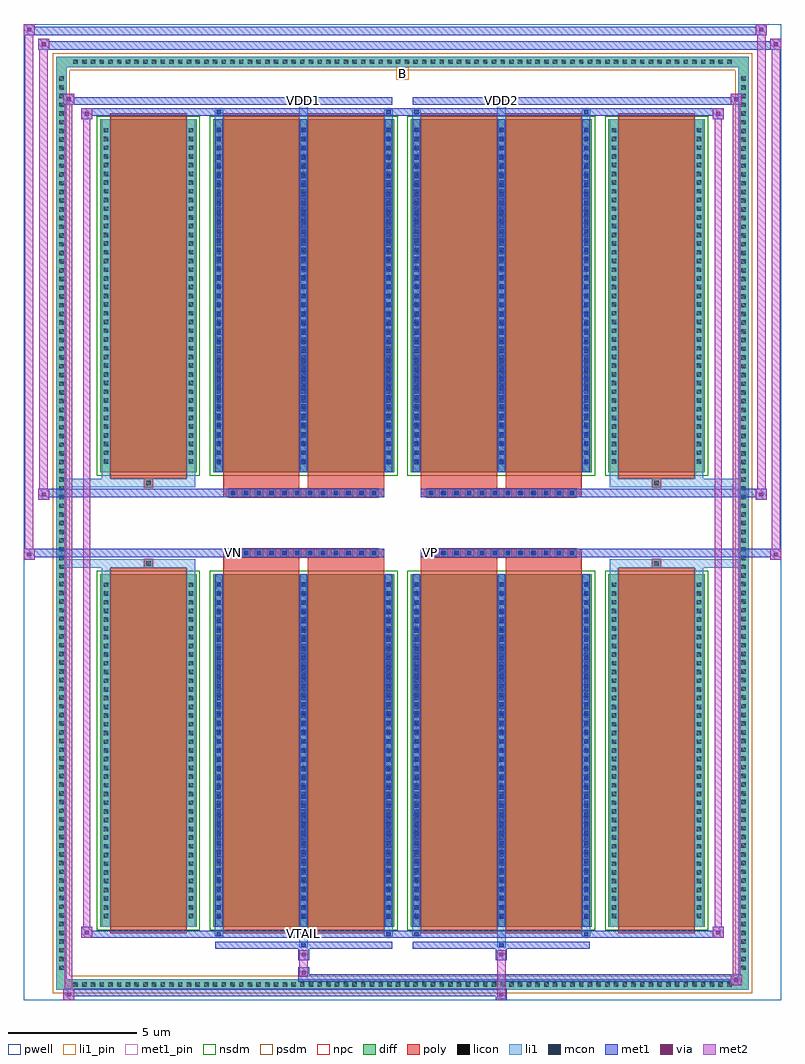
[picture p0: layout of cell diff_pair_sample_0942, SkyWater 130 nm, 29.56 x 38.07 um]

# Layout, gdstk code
import gdstk
lib = gdstk.Library(unit=1e-6, precision=5e-09)
def R(c, l, rs):  # rectangles x0, y0, x1, y1
    for r in rs: c.add(gdstk.rectangle(r[:2], r[2:], *l))
def A(c, l, x, y, w, h, nx, ny, dx, dy):  # array of equal rectangles
    R(c, l, [(x+i*dx, y+j*dy, x+i*dx+w, y+j*dy+h) for i in range(nx) for j in range(ny)])
def P(c, l, *ps):  # polygons
    for p in ps: c.add(gdstk.Polygon(p, *l))
pwell = (64, 44)
diff = (65, 20)
poly = (66, 20)
licon = (66, 44)
li1_pin = (67, 16)
li1 = (67, 20)
mcon = (67, 44)
met1_pin = (68, 16)
met1 = (68, 20)
via = (68, 44)
met2 = (69, 20)
nsdm = (93, 44)
psdm = (94, 20)
npc = (95, 20)

diff_pair_sample_0942 = lib.new_cell('diff_pair_sample_0942')
R(diff_pair_sample_0942, pwell, [(-14.78,-18.6,14.78,19.47), (-12.1,-16.79,-0.01,-0.805), (0.01,-16.79,12.1,-0.805), (-12.1,0.805,-0.01,16.79), (0.01,0.805,12.1,16.79)])
A(diff_pair_sample_0942, diff, -12.955, -18.2, 0.41, 0.41, 76, 2, 0.34, 35.99)
A(diff_pair_sample_0942, diff, -13.51, -17.545, 0.41, 0.41, 1, 103, 0, 0.34)
A(diff_pair_sample_0942, diff, 13.1, -17.545, 0.41, 0.41, 1, 103, 0, 0.34)
R(diff_pair_sample_0942, diff, [(-12.955,-18.2,12.955,-17.79), (-13.51,-17.545,-13.1,17.545), (13.1,-17.545,13.51,17.545), (-11.79,-15.745,-8.03,-1.985), (-7.39,-15.745,-0.32,-1.985), (0.32,-15.745,7.39,-1.985), (8.03,-15.745,11.79,-1.985), (-11.79,1.985,-8.03,15.745), (-7.39,1.985,-0.32,15.745), (0.32,1.985,7.39,15.745), (8.03,1.985,11.79,15.745), (-12.955,17.79,12.955,18.2)])
P(diff_pair_sample_0942, diff, [(13.51,18.2),(-13.51,18.2),(-13.51,-17.79),(-13.1,-17.79),(-13.1,17.79),(13.1,17.79),(13.1,-17.79),(-13.1,-17.79),(-13.51,-17.79),(-13.51,-18.2),(13.51,-18.2)])
A(diff_pair_sample_0942, poly, -6.77, -1.335, 0.33, 0.33, 12, 2, 0.5, 2.34)
A(diff_pair_sample_0942, poly, 0.94, -1.335, 0.33, 0.33, 12, 2, 0.5, 2.34)
R(diff_pair_sample_0942, poly, [(-11.4,-15.995,-8.42,-1.735), (-7,-15.995,-4.02,-1.735), (-3.69,-15.995,-0.71,-1.735), (0.71,-15.995,3.69,-1.735), (4.02,-15.995,7,-1.735), (8.42,-15.995,11.4,-1.735), (-10.075,-1.735,-9.745,-1.405), (-10.075,-1.735,-9.745,-1.405), (-7,-1.735,-4.02,-1.335), (-3.69,-1.735,-0.71,-1.335), (0.71,-1.735,3.69,-1.335), (4.02,-1.735,7,-1.335), (9.745,-1.735,10.075,-1.405), (9.745,-1.735,10.075,-1.405), (-7,-1.335,-0.71,-1.005), (0.71,-1.335,7,-1.005), (-7,1.005,-0.71,1.335), (0.71,1.005,7,1.335), (-7,1.335,-4.02,1.735), (-3.69,1.335,-0.71,1.735), (0.71,1.335,3.69,1.735), (4.02,1.335,7,1.735), (-10.075,1.405,-9.745,1.735), (-10.075,1.405,-9.745,1.735), (9.745,1.405,10.075,1.735), (9.745,1.405,10.075,1.735), (-11.4,1.735,-8.42,15.995), (-7,1.735,-4.02,15.995), (-3.69,1.735,-0.71,15.995), (0.71,1.735,3.69,15.995), (4.02,1.735,7,15.995), (8.42,1.735,11.4,15.995)])
A(diff_pair_sample_0942, licon, -12.835, -18.08, 0.17, 0.17, 76, 2, 0.34, 35.99)
A(diff_pair_sample_0942, licon, -13.39, -17.425, 0.17, 0.17, 1, 103, 0, 0.34)
A(diff_pair_sample_0942, licon, 13.22, -17.425, 0.17, 0.17, 1, 103, 0, 0.34)
A(diff_pair_sample_0942, licon, -11.65, -15.41, 0.17, 0.17, 1, 39, 0, 0.34)
A(diff_pair_sample_0942, licon, -8.34, -15.41, 0.17, 0.17, 1, 39, 0, 0.34)
A(diff_pair_sample_0942, licon, -7.25, -15.41, 0.17, 0.17, 3, 39, 3.31, 0.34)
A(diff_pair_sample_0942, licon, 0.46, -15.41, 0.17, 0.17, 3, 39, 3.31, 0.34)
A(diff_pair_sample_0942, licon, 8.17, -15.41, 0.17, 0.17, 1, 39, 0, 0.34)
A(diff_pair_sample_0942, licon, 11.48, -15.41, 0.17, 0.17, 1, 39, 0, 0.34)
A(diff_pair_sample_0942, licon, -6.69, -1.255, 0.17, 0.17, 12, 2, 0.5, 2.34)
A(diff_pair_sample_0942, licon, 1.02, -1.255, 0.17, 0.17, 12, 2, 0.5, 2.34)
A(diff_pair_sample_0942, licon, -11.65, 2.32, 0.17, 0.17, 1, 39, 0, 0.34)
A(diff_pair_sample_0942, licon, -8.34, 2.32, 0.17, 0.17, 1, 39, 0, 0.34)
A(diff_pair_sample_0942, licon, -7.25, 2.32, 0.17, 0.17, 3, 39, 3.31, 0.34)
A(diff_pair_sample_0942, licon, 0.46, 2.32, 0.17, 0.17, 3, 39, 3.31, 0.34)
A(diff_pair_sample_0942, licon, 8.17, 2.32, 0.17, 0.17, 1, 39, 0, 0.34)
A(diff_pair_sample_0942, licon, 11.48, 2.32, 0.17, 0.17, 1, 39, 0, 0.34)
R(diff_pair_sample_0942, licon, [(-9.995,-1.655,-9.825,-1.485), (9.825,-1.655,9.995,-1.485), (-9.995,1.485,-9.825,1.655), (9.825,1.485,9.995,1.655)])
R(diff_pair_sample_0942, li1_pin, [(-0.25,17.29,0.25,17.79)])
A(diff_pair_sample_0942, li1, -12.915, -18.16, 0.33, 0.33, 76, 2, 0.34, 35.99)
A(diff_pair_sample_0942, li1, -13.47, -17.505, 0.33, 0.33, 1, 103, 0, 0.34)
A(diff_pair_sample_0942, li1, 13.14, -17.505, 0.33, 0.33, 1, 103, 0, 0.34)
A(diff_pair_sample_0942, li1, -7.33, -15.745, 0.33, 13.76, 3, 2, 3.31, 17.73)
A(diff_pair_sample_0942, li1, 0.38, -15.745, 0.33, 13.76, 3, 2, 3.31, 17.73)
A(diff_pair_sample_0942, li1, -11.73, -15.49, 0.33, 0.33, 1, 39, 0, 0.34)
A(diff_pair_sample_0942, li1, -8.42, -15.49, 0.33, 0.33, 1, 39, 0, 0.34)
A(diff_pair_sample_0942, li1, -7.33, -15.49, 0.33, 0.33, 3, 39, 3.31, 0.34)
A(diff_pair_sample_0942, li1, 0.38, -15.49, 0.33, 0.33, 3, 39, 3.31, 0.34)
A(diff_pair_sample_0942, li1, 8.09, -15.49, 0.33, 0.33, 1, 39, 0, 0.34)
A(diff_pair_sample_0942, li1, 11.4, -15.49, 0.33, 0.33, 1, 39, 0, 0.34)
A(diff_pair_sample_0942, li1, -7.25, -15.43, 0.17, 0.17, 3, 37, 3.31, 0.36)
A(diff_pair_sample_0942, li1, -7.25, -15.43, 0.17, 13.13, 3, 2, 3.31, 17.73)
A(diff_pair_sample_0942, li1, 0.46, -15.43, 0.17, 0.17, 3, 37, 3.31, 0.36)
A(diff_pair_sample_0942, li1, 0.46, -15.43, 0.17, 13.13, 3, 2, 3.31, 17.73)
A(diff_pair_sample_0942, li1, -6.77, -1.335, 0.33, 0.33, 12, 2, 0.5, 2.34)
A(diff_pair_sample_0942, li1, 0.94, -1.335, 0.33, 0.33, 12, 2, 0.5, 2.34)
A(diff_pair_sample_0942, li1, -11.73, 2.24, 0.33, 0.33, 1, 39, 0, 0.34)
A(diff_pair_sample_0942, li1, -8.42, 2.24, 0.33, 0.33, 1, 39, 0, 0.34)
A(diff_pair_sample_0942, li1, -7.33, 2.24, 0.33, 0.33, 3, 39, 3.31, 0.34)
A(diff_pair_sample_0942, li1, 0.38, 2.24, 0.33, 0.33, 3, 39, 3.31, 0.34)
A(diff_pair_sample_0942, li1, 8.09, 2.24, 0.33, 0.33, 1, 39, 0, 0.34)
A(diff_pair_sample_0942, li1, 11.4, 2.24, 0.33, 0.33, 1, 39, 0, 0.34)
A(diff_pair_sample_0942, li1, -7.25, 2.3, 0.17, 0.17, 3, 37, 3.31, 0.36)
A(diff_pair_sample_0942, li1, 0.46, 2.3, 0.17, 0.17, 3, 37, 3.31, 0.36)
R(diff_pair_sample_0942, li1, [(-13.51,-18.2,-13.1,-17.79), (-13.51,-18.2,-13.1,-17.79), (-13.1,-18.2,13.1,-17.79), (13.1,-18.2,13.51,-17.79), (13.1,-18.2,13.51,-17.79), (-13.51,-17.79,-13.1,17.79), (13.1,-17.79,13.51,17.79), (-4.02,-16.55,-3.69,-15.745), (-3.94,-16.55,-3.77,-16.38), (3.69,-16.55,4.02,-15.745), (3.77,-16.55,3.94,-16.38), (-7.33,-16.12,-7,-15.745), (-7.25,-16.12,-7.08,-15.95), (-0.71,-16.12,-0.38,-15.745), (-0.63,-16.12,-0.46,-15.95), (0.38,-16.12,0.71,-15.745), (0.46,-16.12,0.63,-15.95), (7,-16.12,7.33,-15.745), (7.08,-16.12,7.25,-15.95), (-11.73,-15.745,-11.4,-1.985), (-8.42,-15.745,-8.09,-1.985), (8.09,-15.745,8.42,-1.985), (11.4,-15.745,11.73,-1.985), (-11.73,-1.985,-11.4,-1.405), (-8.42,-1.985,-8.09,-1.405), (8.09,-1.985,8.42,-1.405), (11.4,-1.985,11.73,-1.405), (-13.51,-1.735,-10.075,-1.405), (-11.73,-1.735,-10.075,-1.405), (-10.075,-1.735,-9.745,-1.405), (-9.745,-1.735,-8.09,-1.405), (8.09,-1.735,9.745,-1.405), (9.745,-1.735,10.075,-1.405), (9.745,-1.735,13.51,-1.405), (10.075,-1.735,11.73,-1.405), (-13.51,1.405,-10.075,1.735), (-11.73,1.405,-10.075,1.735), (-11.73,1.405,-11.4,1.985), (-10.075,1.405,-9.745,1.735), (-9.745,1.405,-8.09,1.735), (-8.42,1.405,-8.09,1.985), (8.09,1.405,9.745,1.735), (8.09,1.405,8.42,1.985), (9.745,1.405,10.075,1.735), (9.745,1.405,13.51,1.735), (10.075,1.405,11.73,1.735), (11.4,1.405,11.73,1.985), (-11.73,1.985,-11.4,15.745), (-8.42,1.985,-8.09,15.745), (8.09,1.985,8.42,15.745), (11.4,1.985,11.73,15.745), (-7.33,15.745,-7,16.12), (-4.02,15.745,-3.69,16.55), (-0.71,15.745,-0.38,16.12), (0.38,15.745,0.71,16.12), (3.69,15.745,4.02,16.55), (7,15.745,7.33,16.12), (-7.25,15.95,-7.08,16.12), (-0.63,15.95,-0.46,16.12), (0.46,15.95,0.63,16.12), (7.08,15.95,7.25,16.12), (-3.94,16.38,-3.77,16.55), (3.77,16.38,3.94,16.55), (-13.51,17.79,-13.1,18.2), (-13.51,17.79,-13.1,18.2), (-13.1,17.79,13.1,18.2), (13.1,17.79,13.51,18.2), (13.1,17.79,13.51,18.2)])
A(diff_pair_sample_0942, mcon, -7.25, -15.43, 0.17, 0.17, 3, 37, 3.31, 0.36)
A(diff_pair_sample_0942, mcon, 0.46, -15.43, 0.17, 0.17, 3, 37, 3.31, 0.36)
A(diff_pair_sample_0942, mcon, -6.69, -1.255, 0.17, 0.17, 12, 2, 0.5, 2.34)
A(diff_pair_sample_0942, mcon, 1.02, -1.255, 0.17, 0.17, 12, 2, 0.5, 2.34)
A(diff_pair_sample_0942, mcon, -7.25, 2.3, 0.17, 0.17, 3, 37, 3.31, 0.36)
A(diff_pair_sample_0942, mcon, 0.46, 2.3, 0.17, 0.17, 3, 37, 3.31, 0.36)
R(diff_pair_sample_0942, mcon, [(-3.94,-16.55,-3.77,-16.38), (3.77,-16.55,3.94,-16.38), (-7.25,-16.12,-7.08,-15.95), (-0.63,-16.12,-0.46,-15.95), (0.46,-16.12,0.63,-15.95), (7.08,-16.12,7.25,-15.95), (-7.25,15.95,-7.08,16.12), (-0.63,15.95,-0.46,16.12), (0.46,15.95,0.63,16.12), (7.08,15.95,7.25,16.12), (-3.94,16.38,-3.77,16.55), (3.77,16.38,3.94,16.55)])
R(diff_pair_sample_0942, met1_pin, [(-3.99,-16.16,-3.72,-15.89), (-6.74,-1.295,-6.47,-1.025), (0.97,-1.295,1.24,-1.025), (-3.99,16.34,-3.72,16.61), (3.72,16.34,3.99,16.61)])
A(diff_pair_sample_0942, met1, -7.31, -15.745, 0.29, 13.76, 3, 2, 3.31, 17.73)
A(diff_pair_sample_0942, met1, 0.4, -15.745, 0.29, 13.76, 3, 2, 3.31, 17.73)
A(diff_pair_sample_0942, met1, -7.31, -15.49, 0.29, 0.29, 3, 37, 3.31, 0.36)
A(diff_pair_sample_0942, met1, 0.4, -15.49, 0.29, 0.29, 3, 37, 3.31, 0.36)
A(diff_pair_sample_0942, met1, -6.75, -1.315, 0.29, 0.29, 12, 2, 0.5, 2.34)
A(diff_pair_sample_0942, met1, 0.96, -1.315, 0.29, 0.29, 12, 2, 0.5, 2.34)
A(diff_pair_sample_0942, met1, -7.31, 2.24, 0.29, 0.29, 3, 37, 3.31, 0.36)
A(diff_pair_sample_0942, met1, 0.4, 2.24, 0.29, 0.29, 3, 37, 3.31, 0.36)
R(diff_pair_sample_0942, met1, [(-13.24,-18.6,-12.81,-18.17), (3.64,-18.6,4.07,-18.17), (-13.24,-18.46,4.07,-18.17), (12.81,-18.03,13.24,-17.6), (-4.07,-17.89,13.24,-17.6), (-4.07,-17.75,-3.64,-17.32), (-4.07,-17.04,-3.64,-16.61), (3.64,-17.04,4.07,-16.61), (-7.31,-16.61,-0.4,-16.32), (-4,-16.61,-3.71,-16.32), (0.4,-16.61,7.31,-16.32), (3.71,-16.61,4,-16.32), (-12.53,-16.18,-12.1,-15.75), (-12.53,-16.18,-7.31,-15.89), (-7.31,-16.18,-7.02,-15.89), (-7.31,-16.18,-0.4,-15.89), (-0.69,-16.18,-0.4,-15.89), (-0.4,-16.18,0.4,-15.89), (0.4,-16.18,0.69,-15.89), (0.4,-16.18,7.31,-15.89), (7.02,-16.18,7.31,-15.89), (7.31,-16.18,12.53,-15.89), (12.1,-16.18,12.53,-15.75), (-14.78,-1.435,-14.35,-1.005), (14.35,-1.435,14.78,-1.005), (-14.78,-1.335,-0.71,-1.005), (-7,-1.335,-0.71,-1.005), (0.71,-1.335,7,-1.005), (0.71,-1.335,14.78,-1.005), (-14.21,0.905,-13.78,1.335), (13.78,0.905,14.21,1.335), (-14.21,1.005,-7,1.335), (-7,1.005,-0.71,1.335), (0.71,1.005,7,1.335), (7,1.005,14.21,1.335), (-12.53,15.75,-12.1,16.18), (12.1,15.75,12.53,16.18), (-12.53,15.89,-7.31,16.18), (-7.31,15.89,-7.02,16.18), (-7.31,15.89,-0.4,16.18), (-0.69,15.89,-0.4,16.18), (-0.4,15.89,0.4,16.18), (0.4,15.89,0.69,16.18), (0.4,15.89,7.31,16.18), (7.02,15.89,7.31,16.18), (7.31,15.89,12.53,16.18), (-13.24,16.32,-12.81,16.75), (-13.24,16.32,-7.31,16.61), (-7.31,16.32,-0.4,16.61), (-4,16.32,-3.71,16.61), (0.4,16.32,7.31,16.61), (3.71,16.32,4,16.61), (7.31,16.32,13.24,16.61), (12.81,16.32,13.24,16.75), (-14.21,18.47,-13.78,18.9), (-14.21,18.47,-12.1,18.8), (-12.1,18.47,12.1,18.8), (12.1,18.47,14.78,18.8), (14.35,18.47,14.78,18.9), (-14.78,19.04,-14.35,19.47), (-14.78,19.04,-12.1,19.37), (-12.1,19.04,12.1,19.37), (12.1,19.04,14.21,19.37), (13.78,19.04,14.21,19.47)])
R(diff_pair_sample_0942, via, [(-13.1,-18.46,-12.95,-18.31), (3.78,-18.46,3.93,-18.31), (12.95,-17.89,13.1,-17.74), (-3.93,-17.61,-3.78,-17.46), (-3.93,-16.9,-3.78,-16.75), (3.78,-16.9,3.93,-16.75), (-12.39,-16.04,-12.24,-15.89), (12.24,-16.04,12.39,-15.89), (-14.64,-1.295,-14.49,-1.145), (14.49,-1.295,14.64,-1.145), (-14.07,1.045,-13.92,1.195), (13.92,1.045,14.07,1.195), (-12.39,15.89,-12.24,16.04), (12.24,15.89,12.39,16.04), (-13.1,16.46,-12.95,16.61), (12.95,16.46,13.1,16.61), (-14.07,18.61,-13.92,18.76), (14.49,18.61,14.64,18.76), (-14.64,19.18,-14.49,19.33), (13.92,19.18,14.07,19.33)])
R(diff_pair_sample_0942, met2, [(-13.24,-18.6,-12.81,-18.17), (-13.17,-18.6,-12.88,16.75), (-12.88,-18.6,-12.81,-18.17), (-13.19,-18.55,-12.86,-18.22), (3.69,-18.55,4.02,-18.22), (3.69,-18.22,4.02,-16.99), (12.81,-18.03,13.24,-17.6), (12.88,-18.03,13.17,16.75), (13.17,-18.03,13.24,-17.6), (12.86,-17.98,13.19,-17.65), (-4.02,-17.7,-3.69,-17.37), (-4.02,-17.37,-3.69,-16.99), (-4.02,-16.99,-3.69,-16.66), (3.69,-16.99,4.02,-16.66), (-12.53,-16.18,-12.1,-15.75), (-12.46,-16.18,-12.17,16.18), (-12.17,-16.18,-12.1,-15.75), (12.1,-16.18,12.53,-15.75), (12.17,-16.18,12.46,16.18), (12.46,-16.18,12.53,-15.75), (-12.48,-16.13,-12.15,-15.8), (12.15,-16.13,12.48,-15.8), (-14.78,-1.435,-14.35,-1.005), (-14.73,-1.435,-14.4,19.47), (-14.4,-1.435,-14.35,-1.005), (14.35,-1.435,14.78,-1.005), (14.4,-1.435,14.73,18.9), (14.73,-1.435,14.78,-1.005), (-14.73,-1.385,-14.4,-1.055), (14.4,-1.385,14.73,-1.055), (-14.21,0.905,-13.78,1.335), (-14.16,0.905,-13.83,18.9), (-13.83,0.905,-13.78,1.335), (13.78,0.905,14.21,1.335), (13.83,0.905,14.16,19.47), (14.16,0.905,14.21,1.335), (-14.16,0.955,-13.83,1.285), (13.83,0.955,14.16,1.285), (-12.53,15.75,-12.1,16.18), (-12.17,15.75,-12.1,16.18), (12.1,15.75,12.53,16.18), (12.46,15.75,12.53,16.18), (-12.48,15.8,-12.15,16.13), (12.15,15.8,12.48,16.13), (-13.24,16.32,-12.81,16.75), (-12.88,16.32,-12.81,16.75), (12.81,16.32,13.24,16.75), (13.17,16.32,13.24,16.75), (-13.19,16.37,-12.86,16.7), (12.86,16.37,13.19,16.7), (-14.21,18.47,-13.78,18.9), (-13.83,18.47,-13.78,18.9), (14.35,18.47,14.78,18.9), (14.73,18.47,14.78,18.9), (-14.16,18.52,-13.83,18.85), (14.4,18.52,14.73,18.85), (-14.78,19.04,-14.35,19.47), (-14.4,19.04,-14.35,19.47), (13.78,19.04,14.21,19.47), (14.16,19.04,14.21,19.47), (-14.73,19.09,-14.4,19.42), (13.83,19.09,14.16,19.42)])
R(diff_pair_sample_0942, nsdm, [(-11.92,-15.875,-7.9,-1.855), (-7.52,-15.875,-0.19,-1.855), (0.19,-15.875,7.52,-1.855), (7.9,-15.875,11.92,-1.855), (-11.92,1.855,-7.9,15.875), (-7.52,1.855,-0.19,15.875), (0.19,1.855,7.52,15.875), (7.9,1.855,11.92,15.875)])
P(diff_pair_sample_0942, psdm, [(13.64,18.33),(-13.64,18.33),(-13.64,-17.66),(-12.97,-17.66),(-12.97,17.66),(12.97,17.66),(12.97,-17.66),(-12.97,-17.66),(-13.64,-17.66),(-13.64,-18.33),(13.64,-18.33)])
A(diff_pair_sample_0942, npc, -6.79, -1.355, 0.37, 0.37, 12, 2, 0.5, 2.34)
A(diff_pair_sample_0942, npc, 0.92, -1.355, 0.37, 0.37, 12, 2, 0.5, 2.34)
R(diff_pair_sample_0942, npc, [(-10.095,-1.755,-9.725,-1.385), (9.725,-1.755,10.095,-1.385), (-6.79,-1.355,-5.92,-0.985), (-6.79,-1.355,-5.92,-0.985), (-6.29,-1.355,-5.42,-0.985), (-6.29,-1.355,-5.42,-0.985), (-5.79,-1.355,-4.92,-0.985), (-5.79,-1.355,-4.92,-0.985), (-5.29,-1.355,-4.42,-0.985), (-5.29,-1.355,-4.42,-0.985), (-4.79,-1.355,-3.92,-0.985), (-4.79,-1.355,-3.92,-0.985), (-4.29,-1.355,-3.42,-0.985), (-4.29,-1.355,-3.42,-0.985), (-3.79,-1.355,-2.92,-0.985), (-3.79,-1.355,-2.92,-0.985), (-3.29,-1.355,-2.42,-0.985), (-3.29,-1.355,-2.42,-0.985), (-2.79,-1.355,-1.92,-0.985), (-2.79,-1.355,-1.92,-0.985), (-2.29,-1.355,-1.42,-0.985), (-2.29,-1.355,-1.42,-0.985), (-1.79,-1.355,-0.92,-0.985), (-1.79,-1.355,-0.92,-0.985), (0.92,-1.355,1.79,-0.985), (0.92,-1.355,1.79,-0.985), (1.42,-1.355,2.29,-0.985), (1.42,-1.355,2.29,-0.985), (1.92,-1.355,2.79,-0.985), (1.92,-1.355,2.79,-0.985), (2.42,-1.355,3.29,-0.985), (2.42,-1.355,3.29,-0.985), (2.92,-1.355,3.79,-0.985), (2.92,-1.355,3.79,-0.985), (3.42,-1.355,4.29,-0.985), (3.42,-1.355,4.29,-0.985), (3.92,-1.355,4.79,-0.985), (3.92,-1.355,4.79,-0.985), (4.42,-1.355,5.29,-0.985), (4.42,-1.355,5.29,-0.985), (4.92,-1.355,5.79,-0.985), (4.92,-1.355,5.79,-0.985), (5.42,-1.355,6.29,-0.985), (5.42,-1.355,6.29,-0.985), (5.92,-1.355,6.79,-0.985), (5.92,-1.355,6.79,-0.985), (-6.79,0.985,-5.92,1.355), (-6.79,0.985,-5.92,1.355), (-6.29,0.985,-5.42,1.355), (-6.29,0.985,-5.42,1.355), (-5.79,0.985,-4.92,1.355), (-5.79,0.985,-4.92,1.355), (-5.29,0.985,-4.42,1.355), (-5.29,0.985,-4.42,1.355), (-4.79,0.985,-3.92,1.355), (-4.79,0.985,-3.92,1.355), (-4.29,0.985,-3.42,1.355), (-4.29,0.985,-3.42,1.355), (-3.79,0.985,-2.92,1.355), (-3.79,0.985,-2.92,1.355), (-3.29,0.985,-2.42,1.355), (-3.29,0.985,-2.42,1.355), (-2.79,0.985,-1.92,1.355), (-2.79,0.985,-1.92,1.355), (-2.29,0.985,-1.42,1.355), (-2.29,0.985,-1.42,1.355), (-1.79,0.985,-0.92,1.355), (-1.79,0.985,-0.92,1.355), (0.92,0.985,1.79,1.355), (0.92,0.985,1.79,1.355), (1.42,0.985,2.29,1.355), (1.42,0.985,2.29,1.355), (1.92,0.985,2.79,1.355), (1.92,0.985,2.79,1.355), (2.42,0.985,3.29,1.355), (2.42,0.985,3.29,1.355), (2.92,0.985,3.79,1.355), (2.92,0.985,3.79,1.355), (3.42,0.985,4.29,1.355), (3.42,0.985,4.29,1.355), (3.92,0.985,4.79,1.355), (3.92,0.985,4.79,1.355), (4.42,0.985,5.29,1.355), (4.42,0.985,5.29,1.355), (4.92,0.985,5.79,1.355), (4.92,0.985,5.79,1.355), (5.42,0.985,6.29,1.355), (5.42,0.985,6.29,1.355), (5.92,0.985,6.79,1.355), (5.92,0.985,6.79,1.355), (-10.095,1.385,-9.725,1.755), (9.725,1.385,10.095,1.755)])
diff_pair_sample_0942.add(gdstk.Label('VTAIL', (-3.855,-16.025), layer=68, texttype=5))
diff_pair_sample_0942.add(gdstk.Label('VN', (-6.605,-1.16), layer=68, texttype=5))
diff_pair_sample_0942.add(gdstk.Label('VP', (1.105,-1.16), layer=68, texttype=5))
diff_pair_sample_0942.add(gdstk.Label('B', (0,17.54), layer=67, texttype=5))
diff_pair_sample_0942.add(gdstk.Label('VDD2', (3.855,16.475), layer=68, texttype=5))
diff_pair_sample_0942.add(gdstk.Label('VDD1', (-3.855,16.475), layer=68, texttype=5))

lib.write_gds('diff_pair_sample_0942.gds')
